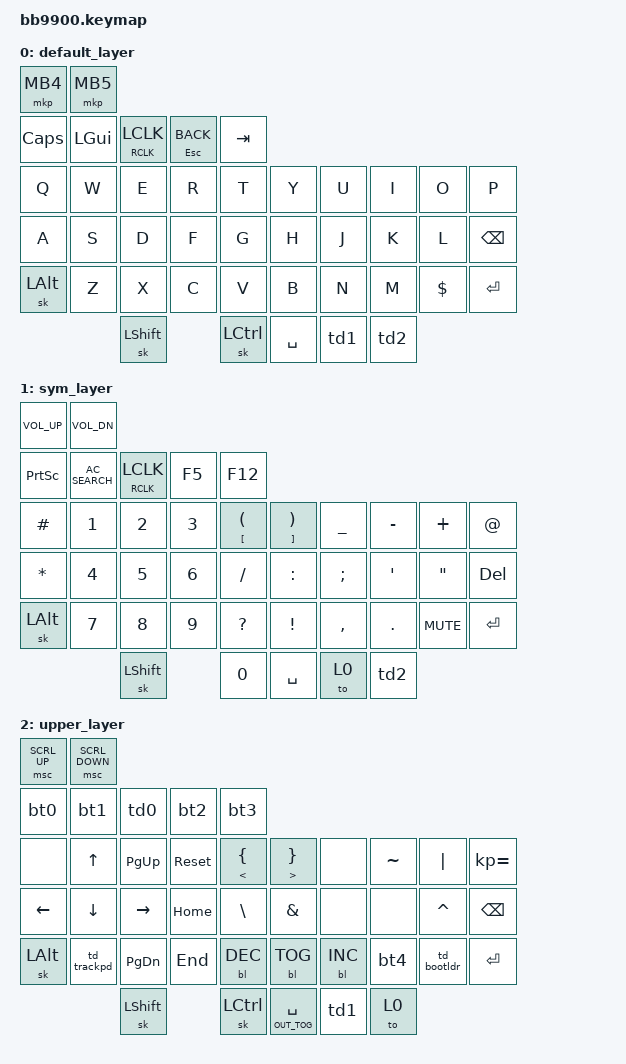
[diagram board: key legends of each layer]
/*
 * Copyright (c) 2023 ZitaoTech
 *
 * SPDX-License-Identifier: MIT
 */

#include <behaviors.dtsi>
#include <dt-bindings/zmk/backlight.h>
#include <dt-bindings/zmk/bt.h>
#include <dt-bindings/zmk/ext_power.h>
#include <dt-bindings/zmk/keys.h>
#include <dt-bindings/zmk/mouse.h>
#include <dt-bindings/zmk/outputs.h>

#define SYM 1
#define UPPER 2

&sk { release-after-ms = <1000>; };

/ {
    behaviors {
        td0: tap_dance_0 {
            compatible = "zmk,behavior-tap-dance";
            #binding-cells = <0>;
            tapping-term-ms = <400>;
            bindings = <&mkp LCLK>, <&bt BT_CLR>;
        };
    };

    behaviors {
        td1: tap_dance_1 {
            compatible = "zmk,behavior-tap-dance";
            #binding-cells = <0>;
            tapping-term-ms = <400>;
            bindings = <&sl 1>, <&to 1>;
        };
    };

    behaviors {
        td2: tap_dance_2 {
            compatible = "zmk,behavior-tap-dance";
            #binding-cells = <0>;
            tapping-term-ms = <400>;
            bindings = <&sl 2>, <&to 2>;
        };
    };

    behaviors {
        hm: homerow_mods {
            compatible = "zmk,behavior-hold-tap";
            #binding-cells = <2>;
            tapping-term-ms = <500>;
            bindings = <&out &kp>;
        };
    };

    behaviors {
        msk: mod_mouse {
            compatible = "zmk,behavior-hold-tap";
            #binding-cells = <2>;
            flavor = "tap-preferred";
            tapping-term-ms = <200>;
            quick-tap-ms = <125>;
            require-prior-idle-ms = <125>;
            bindings = <&mkp >, <&mkp >;
        };

        td_trackpd: td_trackpd {
            compatible = "zmk,behavior-tap-dance";
            #binding-cells = <0>;
            tapping-term-ms = <400>;
            bindings = <&none>, <&ext_power EP_TOG>;

            label = "TD_TRACKPD";
        };

        td_bootldr: td_bootldr {
            compatible = "zmk,behavior-tap-dance";
            #binding-cells = <0>;
            tapping-term-ms = <400>;
            bindings = <&none>, <&bootloader>;

            label = "TD_BOOTLDR";
        };
    };
    behaviors {
        as_ht: autoshift_hold_tap {
          compatible = "zmk,behavior-hold-tap";
          label = "AUTOSHIFT_HOLD_TAP";
          #binding-cells = <2>;
          tapping-term-ms = <200>;
          bindings = <&shifted>, <&kp>;
        };
      };

    combos { compatible = "zmk,combos"; };

    macros {
        bt0: bt0 {
            compatible = "zmk,behavior-macro";
            #binding-cells = <0>;
            bindings = <&bt BT_SEL 0 &bt BT_DISC 1 &bt BT_DISC 2 &bt BT_DISC 3 &bt BT_DISC 4>;
            label = "BT0";
        };

        bt1: bt1 {
            compatible = "zmk,behavior-macro";
            #binding-cells = <0>;
            bindings = <&bt BT_SEL 1 &bt BT_DISC 0 &bt BT_DISC 2 &bt BT_DISC 3 &bt BT_DISC 4>;
            label = "BT1";
        };

        bt2: bt2 {
            compatible = "zmk,behavior-macro";
            #binding-cells = <0>;
            bindings = <&bt BT_SEL 2 &bt BT_DISC 0 &bt BT_DISC 1 &bt BT_DISC 3 &bt BT_DISC 4>;
            label = "BT2";
        };

        bt3: bt3 {
            compatible = "zmk,behavior-macro";
            #binding-cells = <0>;
            bindings = <&bt BT_SEL 3 &bt BT_DISC 0 &bt BT_DISC 1 &bt BT_DISC 2 &bt BT_DISC 4>;
            label = "BT3";
        };

        bt4: bt4 {
            compatible = "zmk,behavior-macro";
            #binding-cells = <0>;
            bindings = <&bt BT_SEL 4 &bt BT_DISC 0 &bt BT_DISC 1 &bt BT_DISC 2 &bt BT_DISC 3>;
            label = "BT4";
        };

        shifted: macro_shifted_kp {
          #binding-cells = <1>;
          label = "MACRO_SHIFTED_KP";
          compatible = "zmk,behavior-macro-one-param";
          bindings =
            <&macro_press &kp LSHFT>,
            <&macro_param_1to1 &macro_tap &kp MACRO_PLACEHOLDER>,
            <&macro_release &kp LSHFT>;
        };
    
        as: autoshift {
          compatible = "zmk,behavior-macro-one-param";
          #binding-cells = <1>;
          label = "AUTOSHIFT_KP";
          bindings =
            <&macro_press>,
            <&macro_param_1to1>,
            <&macro_param_1to2>,
            <&as_ht MACRO_PLACEHOLDER MACRO_PLACEHOLDER>,
            <&macro_pause_for_release>,
            <&macro_release>,
            <&macro_param_1to1>,
            <&macro_param_1to2>,
            <&as_ht MACRO_PLACEHOLDER MACRO_PLACEHOLDER>;
        };
    };

    keymap {
        compatible = "zmk,keymap";

        default_layer {
            bindings = <
&mkp MB4  &mkp MB5
&kp CLCK  &kp LGUI  &msk RCLK LCLK  &mt ESC K_BACK  &kp TAB
&kp Q     &kp W     &kp E           &kp R           &kp T      &kp Y        &kp U  &kp I  &kp O     &kp P
&kp A     &kp S     &kp D           &kp F           &kp G      &kp H        &kp J  &kp K  &kp L     &kp BSPC
&sk LALT  &kp Z     &kp X           &kp C           &kp V      &kp B        &kp N  &kp M  &kp DLLR  &kp ENTER
                    &sk LSHFT                       &sk LCTRL  &kp SPACE    &td1   &td2
            >;
        };

        sym_layer {
            bindings = <
&kp C_VOL_UP  &kp C_VOL_DN
&kp PSCRN     &kp C_AC_SEARCH  &msk RCLK LCLK  &kp F5  &kp F12
&kp HASH      &kp N1           &kp N2          &kp N3  &mt LBKT LPAR  &mt RBKT RPAR    &kp UNDER  &kp MINUS  &kp PLUS    &kp AT
&kp STAR      &kp N4           &kp N5          &kp N6  &kp SLASH      &kp COLON        &kp SEMI   &kp APOS   &kp DQT     &kp DEL
&sk LALT      &kp N7           &kp N8          &kp N9  &kp QMARK      &kp EXCL         &kp COMMA  &kp DOT    &kp C_MUTE  &kp ENTER
                               &sk LSHFT               &kp N0         &kp SPACE        &to 0      &td2
            >;
        };

        upper_layer {
            bindings = <
&msc SCRL_UP  &msc SCRL_DOWN
&bt0          &bt1            &td0           &bt2        &bt3
&none         &kp UP          &kp PAGE_UP    &sys_reset  &mt LESS_THAN LEFT_BRACE  &mt GREATER_THAN RIGHT_BRACE    &none       &kp TILDE  &kp PIPE     &kp KP_EQUAL
&kp LEFT      &kp DOWN        &kp RIGHT      &kp HOME    &kp BSLH                  &kp AMPS                        &none       &none      &kp CARET    &kp BSPC
&sk LALT      &td_trackpd     &kp PAGE_DOWN  &kp END     &bl BL_DEC                &bl BL_TOG                      &bl BL_INC  &bt4       &td_bootldr  &kp ENTER
                              &sk LSHFT                  &sk LCTRL                 &hm OUT_TOG SPACE               &td1        &to 0
            >;
        };
    };
};
